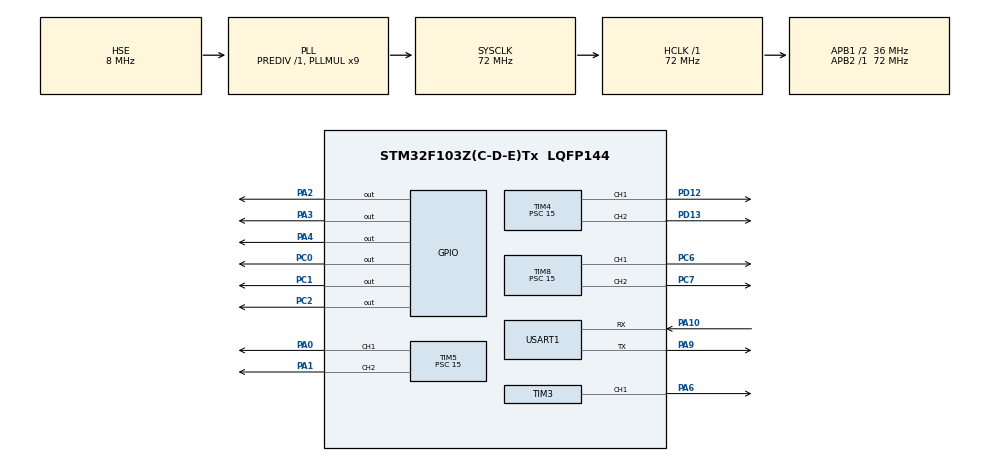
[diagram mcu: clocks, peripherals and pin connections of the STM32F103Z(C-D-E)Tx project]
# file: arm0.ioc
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Mcu.Family=STM32F1
VP_TIM5_VS_ClockSourceINT.Mode=Internal
SH.S_TIM5_CH2.0=TIM5_CH2,Output Compare2 CH2
PA6.GPIO_Label=steering\u2014\u2014gear
RCC.SYSCLKSource=RCC_SYSCLKSOURCE_PLLCLK
ProjectManager.StackSize=0x400
PD13.Signal=S_TIM4_CH2
NVIC.TIM5_IRQn=true\:0\:0\:false\:false\:true\:true\:true
RCC.HCLKFreq_Value=72000000
RCC.APB2TimFreq_Value=72000000
TIM3.Period=200
PC7.Signal=S_TIM8_CH2
OSC_OUT.Mode=HSE-External-Oscillator
OSC_OUT.Signal=RCC_OSC_OUT
RCC.AHBFreq_Value=72000000
TIM3.Channel-PWM\ Generation1\ CH1=TIM_CHANNEL_1
RCC.PLLMUL=RCC_PLL_MUL9
PA14.Mode=Serial_Wire
TIM5.Channel-Output\ Compare1\ CH1=TIM_CHANNEL_1
TIM3.Prescaler=7100
SH.S_TIM4_CH2.0=TIM4_CH2,Output Compare2 CH2
TIM4.Channel-Output\ Compare1\ CH1=TIM_CHANNEL_1
SH.S_TIM3_CH1.0=TIM3_CH1,PWM Generation1 CH1
Mcu.Package=LQFP144
PA6.Signal=S_TIM3_CH1
TIM8.OCMode_2=TIM_OCMODE_TOGGLE
TIM5.OCMode_2=TIM_OCMODE_TOGGLE
TIM5.OCMode_1=TIM_OCMODE_TOGGLE
PD12.Signal=S_TIM4_CH1
TIM8.OCMode_1=TIM_OCMODE_TOGGLE
PA10.Signal=USART1_RX
TIM4.Channel-Output\ Compare2\ CH2=TIM_CHANNEL_2
TIM8.Prescaler=15
SH.S_TIM4_CH1.0=TIM4_CH1,Output Compare1 CH1
RCC.APB1TimFreq_Value=72000000
SH.S_TIM5_CH1.0=TIM5_CH1,Output Compare1 CH1
NVIC.USART1_IRQn=true\:0\:0\:false\:false\:true\:true\:true
VP_TIM3_VS_ClockSourceINT.Mode=Internal
PA3.Signal=GPIO_Output
RCC.PLLSourceVirtual=RCC_PLLSOURCE_HSE
TIM5.Channel-Output\ Compare2\ CH2=TIM_CHANNEL_2
TIM4.Pulse-Output\ Compare2\ CH2=700
PA10.Mode=Asynchronous
PC2.Signal=GPIO_Output
PC6.Signal=S_TIM8_CH1
PC0.Signal=GPIO_Output
RCC.APB1CLKDivider=RCC_HCLK_DIV2
SH.S_TIM8_CH2.0=TIM8_CH2,Output Compare2 CH2
PA0-WKUP.Signal=S_TIM5_CH1
TIM8.Pulse-Output\ Compare1\ CH1=600
PA13.Signal=SYS_JTMS-SWDIO
PA9.Mode=Asynchronous
NVIC.TIM8_CC_IRQn=true\:0\:0\:false\:false\:true\:true\:true
ProjectManager.TargetToolchain=MDK-ARM V5
PA9.Signal=USART1_TX
VP_TIM8_VS_ClockSourceINT.Mode=Internal
TIM8.Channel-Output\ Compare1\ CH1=TIM_CHANNEL_1
TIM4.OCMode_2=TIM_OCMODE_TOGGLE
OSC_IN.Signal=RCC_OSC_IN
RCC.USBFreq_Value=72000000
TIM4.Prescaler=15
TIM4.OCMode_1=TIM_OCMODE_TOGGLE
PA1.Signal=S_TIM5_CH2
SH.S_TIM8_CH1.0=TIM8_CH1,Output Compare1 CH1
board=custom
TIM4.Pulse-Output\ Compare1\ CH1=700
NVIC.TIM3_IRQn=true\:0\:0\:false\:false\:true\:true\:true
RCC.APB2Freq_Value=72000000
TIM8.Channel-Output\ Compare2\ CH2=TIM_CHANNEL_2
PA13.Mode=Serial_Wire
Mcu.Name=STM32F103Z(C-D-E)Tx
PA2.Signal=GPIO_Output
TIM8.Pulse-Output\ Compare2\ CH2=600
PA4.Signal=GPIO_Output
RCC.SYSCLKFreq_VALUE=72000000
TIM5.Prescaler=15
OSC_IN.Mode=HSE-External-Oscillator
USART1.VirtualMode=VM_ASYNC
PA14.Signal=SYS_JTCK-SWCLK
ProjectManager.HeapSize=0x200
VP_TIM4_VS_ClockSourceINT.Mode=Internal
NVIC.PriorityGroup=NVIC_PRIORITYGROUP_4
NVIC.TIM4_IRQn=true\:0\:0\:false\:false\:true\:true\:true
RCC.APB1Freq_Value=36000000
PC1.Signal=GPIO_Output
TIM5.Pulse-Output\ Compare2\ CH2=600

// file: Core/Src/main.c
/* USER CODE BEGIN Header */
/**
  ******************************************************************************
  * @file           : main.c
  * @brief          : Main program body
  ******************************************************************************
  * @attention
  *
  * <h2><center>&copy; Copyright (c) 2020 STMicroelectronics.
  * All rights reserved.</center></h2>
  *
  * This software component is licensed by ST under BSD 3-Clause license,
  * the "License"; You may not use this file except in compliance with the
  * License. You may obtain a copy of the License at:
  *                        opensource.org/licenses/BSD-3-Clause
  *
  ******************************************************************************
  */
/* USER CODE END Header */
#include "main.h"
#include "tim.h"
#include "usart.h"
#include "gpio.h"

/* USER CODE BEGIN Includes */
#include "motor.h"
#include "robot.h"
/* USER CODE END Includes */

/* USER CODE BEGIN PV */
extern int  stop_flag1;
float fre[ACCELERATED_SPEED_LENGTH1]; //数组存储加速过程中每一步的频率
unsigned short period[ACCELERATED_SPEED_LENGTH1]; //数组储存加速过程中每一步定时器的自动装载值

float fre2[ACCELERATED_SPEED_LENGTH2]; //数组存储加速过程中每一步的频率
unsigned short period2[ACCELERATED_SPEED_LENGTH2]; //数组储存加速过程中每一步定时器的自动装载值
float x1_p[3]={80,0,-30};
float y1_p[3]={150,150,150};
float x2_p[3]={-120,-80,-20};
float y2_p[3]={-20,20,40};
/* USER CODE END PV */

void SystemClock_Config(void);

/* USER CODE BEGIN 0 */
	void steering_gear(TIM_HandleTypeDef htimx,int TIM_CHANNEL,int y);//舵机
	void robot_arm(float x,float y);//解算
	void motor_result(float x,float y);//计算得出相对坐标
	void motor_reset();//复位程序
	void CalculateSModelLine(float fre_[], unsigned short period_[], float len, float fre_max, float fre_min, float flexible);
/* USER CODE END 0 */

int main(void)
{

  /* MCU Configuration--------------------------------------------------------*/

  /* Reset of all peripherals, Initializes the Flash interface and the Systick. */
  HAL_Init();

  /* Configure the system clock */
  SystemClock_Config();

  /* Initialize all configured peripherals */
  MX_GPIO_Init();
  MX_TIM4_Init();
  MX_TIM5_Init();
  MX_TIM8_Init();
  MX_TIM3_Init();
  MX_USART1_UART_Init();
  /* USER CODE BEGIN 2 */
	//EN2使能

	for(int j=0;j<=2;j++)
	{

		steering_gear(htim3,TIM_CHANNEL_1,10);
		HAL_Delay(1000);

		HAL_GPIO_WritePin(GPIOA,GPIO_PIN_2,GPIO_PIN_RESET);
		motor_result(x1_p[j],y1_p[j]);
		CalculateSModelLine(fre,period,ACCELERATED_SPEED_LENGTH1,FRE_MAX,FRE_MIN,4);
		CalculateSModelLine(fre2,period2,ACCELERATED_SPEED_LENGTH2,FRE_MAX,FRE_MIN,4);
		//CalculateSModelLine(fre,period,ACCELERATED_SPEED_LENGTH,FRE_MAX,FRE_MIN,4);
		HAL_TIM_Base_Start(&htim8);//启动定时器
		HAL_TIM_Base_Start(&htim5);//启动定时器
		HAL_TIM_OC_Start_IT(&htim8, TIM_CHANNEL_1);//启动定时器8通道1比较输出中断
		HAL_TIM_OC_Start_IT(&htim5, TIM_CHANNEL_2);//启动定时器8通道2比较输出中断
		HAL_Delay(3000);
		steering_gear(htim3,TIM_CHANNEL_1,25);
		HAL_Delay(1000);
		//后退
//		if(stop_flag1==1)
		{
		motor_result(x1_p[j],y1_p[j]-30);
		CalculateSModelLine(fre,period,ACCELERATED_SPEED_LENGTH1,FRE_MAX,FRE_MIN,4);
		CalculateSModelLine(fre2,period2,ACCELERATED_SPEED_LENGTH2,FRE_MAX,FRE_MIN,4);
		//CalculateSModelLine(fre,period,ACCELERATED_SPEED_LENGTH,FRE_MAX,FRE_MIN,4);
		HAL_TIM_Base_Start(&htim8);//启动定时器
		HAL_TIM_Base_Start(&htim5);//启动定时器
		HAL_TIM_OC_Start_IT(&htim8, TIM_CHANNEL_1);//启动定时器8通道1比较输出中断
		HAL_TIM_OC_Start_IT(&htim5, TIM_CHANNEL_2);//启动定时器8通道2比较输出中断
		HAL_Delay(3000);
		}
		HAL_Delay(1000);
//		if(stop_flag1==1)
		{
			motor_result(x2_p[j],y2_p[j]);
			CalculateSModelLine(fre,period,ACCELERATED_SPEED_LENGTH1,FRE_MAX,FRE_MIN,4);
			CalculateSModelLine(fre2,period2,ACCELERATED_SPEED_LENGTH2,FRE_MAX,FRE_MIN,4);
			//CalculateSModelLine(fre,period,ACCELERATED_SPEED_LENGTH,FRE_MAX,FRE_MIN,4);
			HAL_TIM_Base_Start(&htim8);//启动定时器
			HAL_TIM_Base_Start(&htim5);//启动定时器
			HAL_TIM_OC_Start_IT(&htim8, TIM_CHANNEL_1);//启动定时器8通道1比较输出中断
			HAL_TIM_OC_Start_IT(&htim5, TIM_CHANNEL_2);//启动定时器8通道2比较输出中断
			HAL_Delay(1000);
		}
		HAL_Delay(800);
		steering_gear(htim3,TIM_CHANNEL_1,15);

			HAL_Delay(2000);
//		if(j==2)
		{

			motor_result(30,10);
			CalculateSModelLine(fre,period,ACCELERATED_SPEED_LENGTH1,FRE_MAX,FRE_MIN,4);
			CalculateSModelLine(fre2,period2,ACCELERATED_SPEED_LENGTH2,FRE_MAX,FRE_MIN,4);
			HAL_TIM_Base_Start(&htim8);//启动定时器
			HAL_GPIO_WritePin(GPIOA,GPIO_PIN_2,GPIO_PIN_SET);
	//	HAL_TIM_Base_Start(&htim5);//启动定时器
			HAL_TIM_OC_Start_IT(&htim8, TIM_CHANNEL_1);//启动定时器8通道1比较输出中断
	//	HAL_TIM_OC_Start_IT(&htim5, TIM_CHANNEL_2);//启动定时器8通道2比较输出中断
			HAL_Delay(3000);
		}

}
  /* USER CODE END 2 */

  /* Infinite loop */
  while (1)
  {

  }
}

void SystemClock_Config(void)
{
  RCC_OscInitTypeDef RCC_OscInitStruct = {0};
  RCC_ClkInitTypeDef RCC_ClkInitStruct = {0};

  /** Initializes the RCC Oscillators according to the specified parameters
  * in the RCC_OscInitTypeDef structure.
  */
  RCC_OscInitStruct.OscillatorType = RCC_OSCILLATORTYPE_HSE;
  RCC_OscInitStruct.HSEState = RCC_HSE_ON;
  RCC_OscInitStruct.HSEPredivValue = RCC_HSE_PREDIV_DIV1;
  RCC_OscInitStruct.HSIState = RCC_HSI_ON;
  RCC_OscInitStruct.PLL.PLLState = RCC_PLL_ON;
  RCC_OscInitStruct.PLL.PLLSource = RCC_PLLSOURCE_HSE;
  RCC_OscInitStruct.PLL.PLLMUL = RCC_PLL_MUL9;
  if (HAL_RCC_OscConfig(&RCC_OscInitStruct) != HAL_OK)
  {
    Error_Handler();
  }
  /** Initializes the CPU, AHB and APB buses clocks
  */
  RCC_ClkInitStruct.ClockType = RCC_CLOCKTYPE_HCLK|RCC_CLOCKTYPE_SYSCLK
                              |RCC_CLOCKTYPE_PCLK1|RCC_CLOCKTYPE_PCLK2;
  RCC_ClkInitStruct.SYSCLKSource = RCC_SYSCLKSOURCE_PLLCLK;
  RCC_ClkInitStruct.AHBCLKDivider = RCC_SYSCLK_DIV1;
  RCC_ClkInitStruct.APB1CLKDivider = RCC_HCLK_DIV2;
  RCC_ClkInitStruct.APB2CLKDivider = RCC_HCLK_DIV1;

  if (HAL_RCC_ClockConfig(&RCC_ClkInitStruct, FLASH_LATENCY_2) != HAL_OK)
  {
    Error_Handler();
  }
}

void Error_Handler(void)
{
}

/************************ (C) COPYRIGHT STMicroelectronics *****END OF FILE****/
